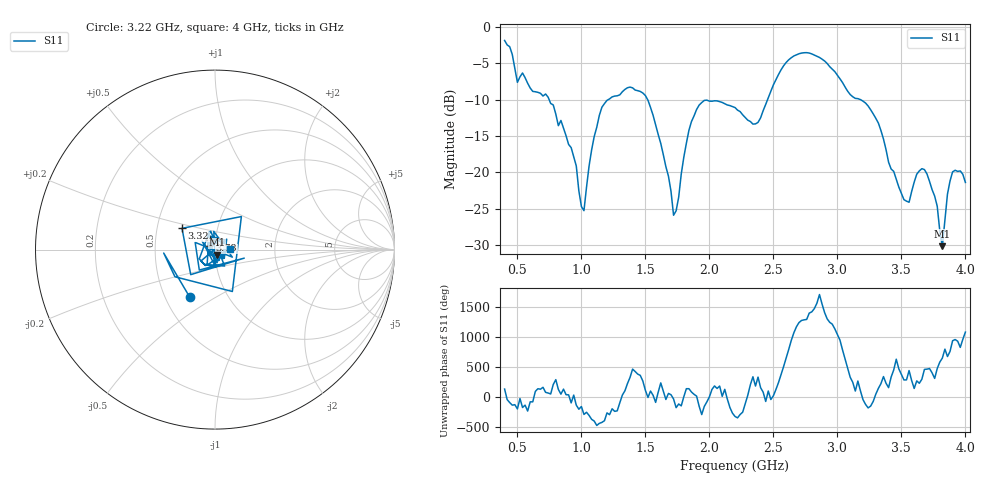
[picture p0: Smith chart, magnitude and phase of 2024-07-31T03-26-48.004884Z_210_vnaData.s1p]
!Created with skrf (http://scikit-rf.org).
# Hz S RI R 50.0
!freq ReS11 ImS11
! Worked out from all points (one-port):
!   181 points, 400 MHz to 4 GHz, reference 50 ohm
!   lowest |S11| = -30.1 dB at 3.82 GHz (marker M1), VSWR 1.06, Z = 51.1 - j2.97 ohm
!   |S11| at or under -10 dB: 748.1 MHz to 1.209 GHz (460.7 MHz wide, 47.1 % of centre); 1.518 GHz to 2.454 GHz (936.2 MHz wide, 47.1 % of centre); 3.182 GHz to end of sweep
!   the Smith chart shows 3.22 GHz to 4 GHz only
!   S11 on the Smith chart (normalised r, x): 3.22 GHz: 0.66, -0.39; 3.32 GHz: 0.67, +0.17; 3.78 GHz: 0.94, +0.10; 4 GHz: 1.19, +0.01
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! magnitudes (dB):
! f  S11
! 400 MHz  -1.9
! 500 MHz  -7.6
! 720 MHz  -9.2
! 860 MHz  -13.9
! 960 MHz  -19.1
! 1.02 GHz  -25.3
! 1.14 GHz  -12.2
! 1.3 GHz  -9.3
! 1.5 GHz  -9.4
! 1.62 GHz  -16.0
! 1.72 GHz  -25.9
! 1.76 GHz  -23.4
! 1.84 GHz  -14.2
! 1.92 GHz  -10.7
! 2.2 GHz  -11.1
! 2.38 GHz  -13.1
! 2.66 GHz  -4.0
! 2.88 GHz  -4.4
! 3.1 GHz  -9.3
! 3.22 GHz  -10.5
! 3.32 GHz  -13.2
! 3.56 GHz  -24.1
! 3.66 GHz  -19.5
! 3.78 GHz  -24.7
! 3.82 GHz  -30.1
! 3.86 GHz  -23.0
! 3.9 GHz  -19.9
! 4 GHz  -21.4
